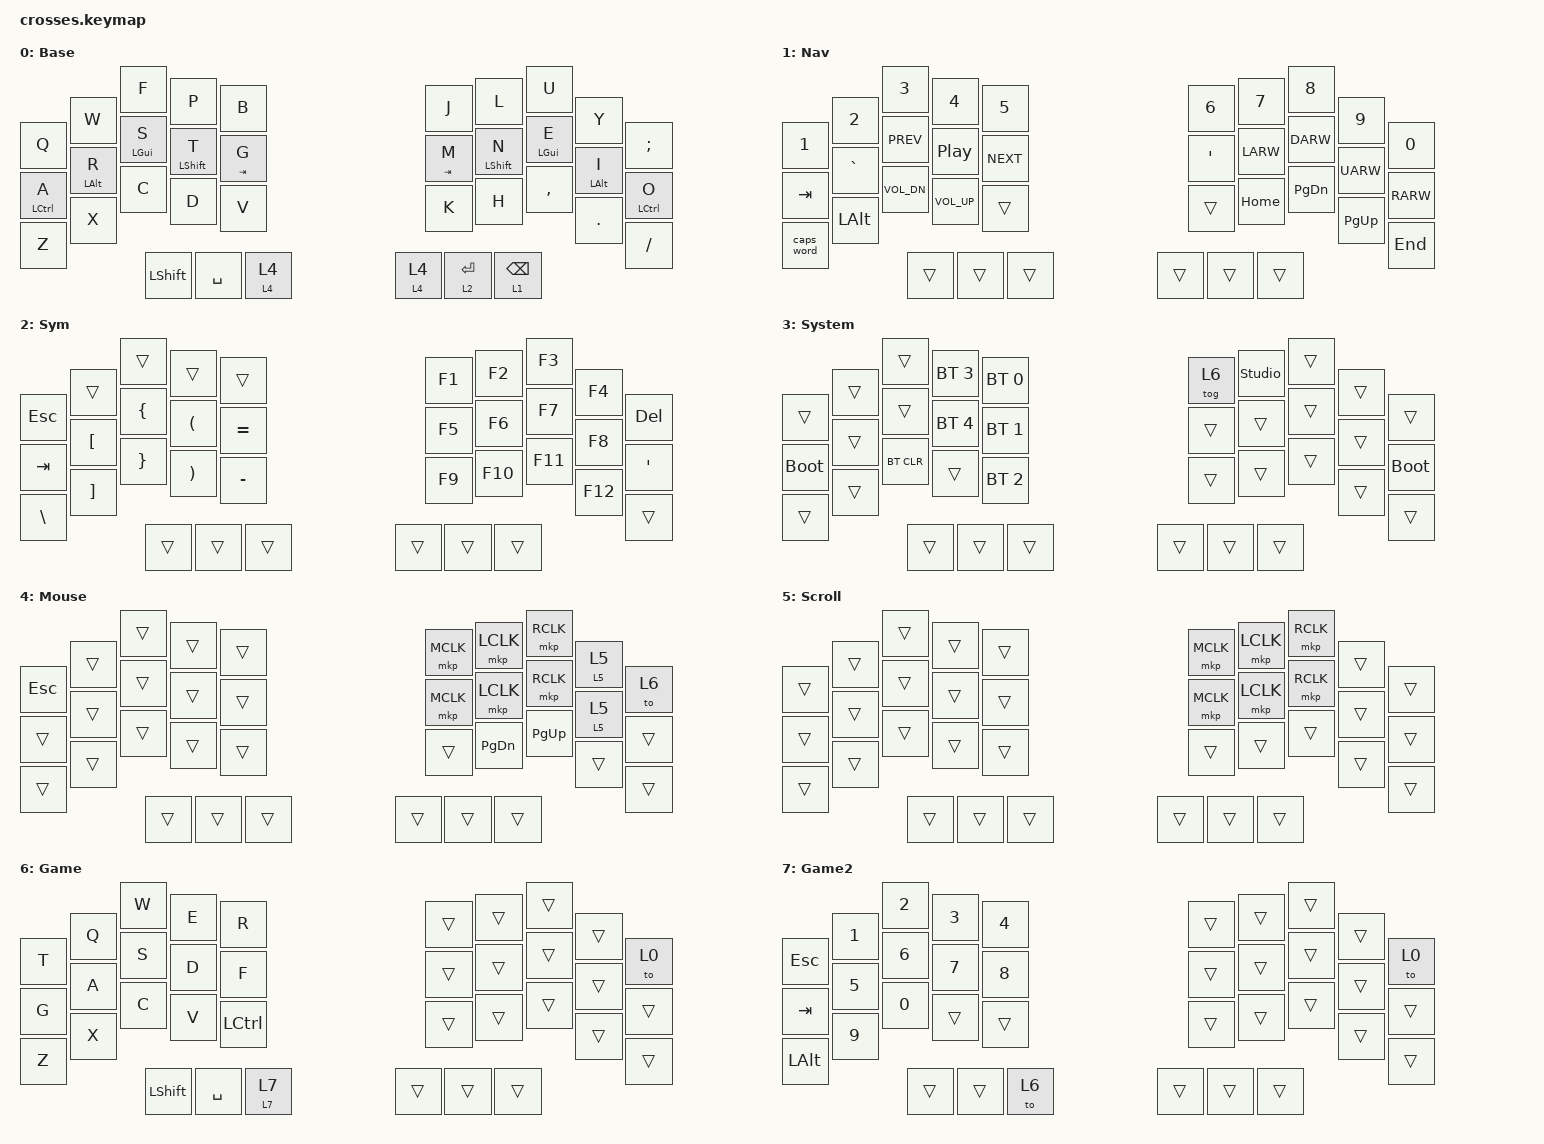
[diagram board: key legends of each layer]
/*
 * Crosses 36 (MiaoMiao PCB) — port of the Charybdis nano layout (ojfw20/charybdis).
 * Colemak-DH, home-row mods, tri-layer, trackball on the right half.
 * Trackball scrolls on layers 5-7 via the PMW3610 driver's scroll-layers property
 * (see boards/nice_nano_v2.overlay in the shield).
 */

#include <behaviors.dtsi>
#include <dt-bindings/zmk/bt.h>
#include <dt-bindings/zmk/keys.h>
#include <dt-bindings/zmk/pointing.h>

&lt {
    tapping-term-ms = <200>;
    flavor = "balanced";
    quick-tap-ms = <150>;
};

/ {
    combos {
        compatible = "zmk,combos";

        escc {
            bindings = <&kp ESC>;
            key-positions = <4 5>; // B + J
            layers = <0>;
        };
    };

    behaviors {
        ht: hold_tap {
            compatible = "zmk,behavior-hold-tap";
            #binding-cells = <2>;
            flavor = "tap-preferred";
            tapping-term-ms = <220>;
            quick-tap-ms = <150>;
            bindings = <&kp>, <&kp>;
        };
        mo_tog: behavior_mo_tog {
            compatible = "zmk,behavior-hold-tap";
            #binding-cells = <2>;
            flavor = "hold-preferred";
            tapping-term-ms = <200>;
            bindings = <&mo>, <&tog>;
        };
    };

    conditional_layers {
        compatible = "zmk,conditional-layers";
        tri_layer {
            if-layers = <1 2>;
            then-layer = <3>;
        };
    };

    keymap {
        compatible = "zmk,keymap";

        Base {
            display-name = "Base";
            bindings = <
&kp Q        &kp W       &kp F       &kp P        &kp B            &kp J        &kp L        &kp U       &kp Y       &kp SEMI
&ht LCTRL A  &ht LALT R  &ht LGUI S  &ht LSHFT T  &ht TAB G        &ht TAB M    &ht LSHFT N  &ht LGUI E  &ht LALT I  &ht LCTRL O
&kp Z        &kp X       &kp C       &kp D        &kp V            &kp K        &kp H        &kp COMMA   &kp PERIOD  &kp SLASH
                         &kp LSHFT   &kp SPACE    &mo_tog 4 4      &mo_tog 4 4  &lt 2 ENTER  &lt 1 BSPC
            >;
        };

        Nav {
            display-name = "Nav";
            bindings = <
&kp N1       &kp N2     &kp N3        &kp N4        &kp N5          &kp N6    &kp N7     &kp N8     &kp N9     &kp N0
&kp TAB      &kp GRAVE  &kp C_PREV    &kp C_PP      &kp C_NEXT      &kp SQT   &kp LARW   &kp DARW   &kp UARW   &kp RARW
&caps_word   &kp LALT   &kp C_VOL_DN  &kp C_VOL_UP  &trans          &trans    &kp HOME   &kp PG_DN  &kp PG_UP  &kp END
                        &trans        &trans        &trans          &trans    &trans     &trans
            >;
        };

        Sym {
            display-name = "Sym";
            bindings = <
&kp ESC   &trans    &trans    &trans    &trans           &kp F1    &kp F2   &kp F3   &kp F4   &kp DEL
&kp TAB   &kp LBKT  &kp LBRC  &kp LPAR  &kp EQUAL        &kp F5    &kp F6   &kp F7   &kp F8   &kp SQT
&kp BSLH  &kp RBKT  &kp RBRC  &kp RPAR  &kp MINUS        &kp F9    &kp F10  &kp F11  &kp F12  &trans
                    &trans    &trans    &trans           &trans    &trans   &trans
            >;
        };

        System {
            display-name = "System";
            bindings = <
&trans       &trans  &trans      &bt BT_SEL 3  &bt BT_SEL 0      &tog 6  &studio_unlock  &trans  &trans  &trans
&bootloader  &trans  &trans      &bt BT_SEL 4  &bt BT_SEL 1      &trans  &trans          &trans  &trans  &bootloader
&trans       &trans  &bt BT_CLR  &trans        &bt BT_SEL 2      &trans  &trans          &trans  &trans  &trans
                     &trans      &trans        &trans            &trans  &trans          &trans
            >;
        };

        Mouse {
            display-name = "Mouse";
            bindings = <
&kp ESC  &trans  &trans  &trans  &trans        &mkp MCLK  &mkp LCLK  &mkp RCLK  &mo_tog 5 5  &to 6
&trans   &trans  &trans  &trans  &trans        &mkp MCLK  &mkp LCLK  &mkp RCLK  &mo_tog 5 5  &trans
&trans   &trans  &trans  &trans  &trans        &trans     &kp PG_DN  &kp PG_UP  &trans       &trans
                 &trans  &trans  &trans        &trans     &trans     &trans
            >;
        };

        Scroll {
            display-name = "Scroll";
            bindings = <
&trans  &trans  &trans  &trans  &trans        &mkp MCLK  &mkp LCLK  &mkp RCLK  &trans  &trans
&trans  &trans  &trans  &trans  &trans        &mkp MCLK  &mkp LCLK  &mkp RCLK  &trans  &trans
&trans  &trans  &trans  &trans  &trans        &trans     &trans     &trans     &trans  &trans
                &trans  &trans  &trans        &trans     &trans     &trans
            >;
        };

        Game {
            display-name = "Game";
            bindings = <
&kp T   &kp Q      &kp W      &kp E        &kp R            &trans  &trans  &trans  &trans  &to 0
&kp G   &kp A      &kp S      &kp D        &kp F            &trans  &trans  &trans  &trans  &trans
&kp Z   &kp X      &kp C      &kp V        &kp LCTRL        &trans  &trans  &trans  &trans  &trans
                   &kp LSHFT  &kp SPACE    &mo_tog 7 7      &trans  &trans  &trans
            >;
        };

        Game2 {
            display-name = "Game2";
            bindings = <
&kp ESC   &kp N1  &kp N2  &kp N3  &kp N4        &trans  &trans  &trans  &trans  &to 0
&kp TAB   &kp N5  &kp N6  &kp N7  &kp N8        &trans  &trans  &trans  &trans  &trans
&kp LALT  &kp N9  &kp N0  &trans  &trans        &trans  &trans  &trans  &trans  &trans
                  &trans  &trans  &to 6         &trans  &trans  &trans
            >;
        };
    };
};
